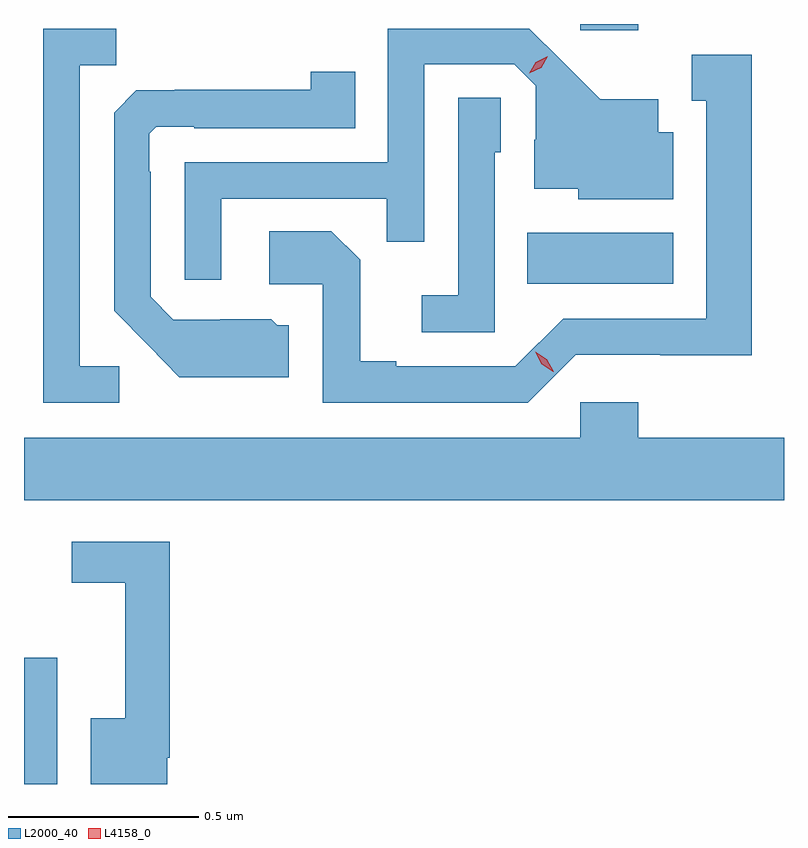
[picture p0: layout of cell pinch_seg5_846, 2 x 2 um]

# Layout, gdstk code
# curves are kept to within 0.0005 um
import gdstk
lib = gdstk.Library(unit=1e-6, precision=1e-09)
def R(c, l, rs):  # rectangles x0, y0, x1, y1
    for r in rs: c.add(gdstk.rectangle(r[:2], r[2:], *l))
def P(c, l, *ps):  # polygons
    for p in ps: c.add(gdstk.Polygon(p, *l))
L2000_40 = (2000, 40)
L4158_0 = (4158, 0)

pinch_seg5_846 = lib.new_cell('pinch_seg5_846')
R(pinch_seg5_846, L2000_40, [(760.086,890.645,760.173,890.977), (761.41,891.962,761.794,892.096), (761.55,892.629,761.702,892.645)])
P(pinch_seg5_846, L2000_40, [(760.605,892.185),(761.041,892.185),(761.041,892.072),(761.139,892.072),(761.139,892.539),(761.376,892.539),(761.433,892.482),(761.433,892.34),(761.429,892.34),(761.429,892.211),(761.544,892.211),(761.544,892.184),(761.794,892.184),(761.794,892.36),(761.755,892.36),(761.755,892.447),(761.603,892.447),(761.416,892.632),(761.043,892.632),(761.043,892.281),(760.509,892.281),(760.509,891.972),(760.605,891.972)],
  [(760.336,891.744),(760.233,891.744),(760.233,892.537),(760.329,892.537),(760.329,892.632),(760.137,892.632),(760.137,891.648),(760.336,891.648)],
  [(761.538,891.774),(761.76,891.774),(761.76,891.773),(762.001,891.773),(762.001,892.564),(761.843,892.564),(761.843,892.443),(761.882,892.443),(761.882,891.87),(761.505,891.87),(761.379,891.744),(761.065,891.744),(761.065,891.757),(760.971,891.757),(760.971,892.024),(760.895,892.1),(760.731,892.1),(760.731,891.96),(760.872,891.96),(760.872,891.648),(761.412,891.648)],
  [(760.783,891.852),(760.752,891.852),(760.736,891.868),(760.602,891.868),(760.602,891.867),(760.479,891.867),(760.419,891.927),(760.419,892.256),(760.416,892.256),(760.416,892.356),(760.434,892.374),(760.534,892.374),(760.534,892.371),(760.958,892.371),(760.958,892.519),(760.84,892.519),(760.84,892.472),(760.483,892.472),(760.483,892.471),(760.382,892.471),(760.323,892.412),(760.323,891.89),(760.495,891.716),(760.783,891.716)],
  [(761.325,892.308),(761.34,892.308),(761.34,892.451),(761.229,892.451),(761.229,891.931),(761.133,891.931),(761.133,891.834),(761.325,891.834)],
  [(762.086,891.556),(761.702,891.556),(761.702,891.649),(761.55,891.649),(761.55,891.556),(760.086,891.556),(760.086,891.392),(762.086,891.392)],
  [(760.463,890.714),(760.469,890.714),(760.469,891.282),(760.212,891.282),(760.212,891.174),(760.352,891.174),(760.352,890.818),(760.262,890.818),(760.262,890.645),(760.463,890.645)])
P(pinch_seg5_846, L4158_0, [(761.479,891.73),(761.448,891.749),(761.431,891.782),(761.431,891.782),(761.431,891.782),(761.462,891.763),(761.48,891.73),(761.48,891.73)],
  [(761.416,892.515),(761.416,892.515),(761.433,892.545),(761.464,892.56),(761.464,892.56),(761.464,892.56),(761.447,892.53),(761.416,892.515)])

lib.write_gds('pinch_seg5_846.gds')
